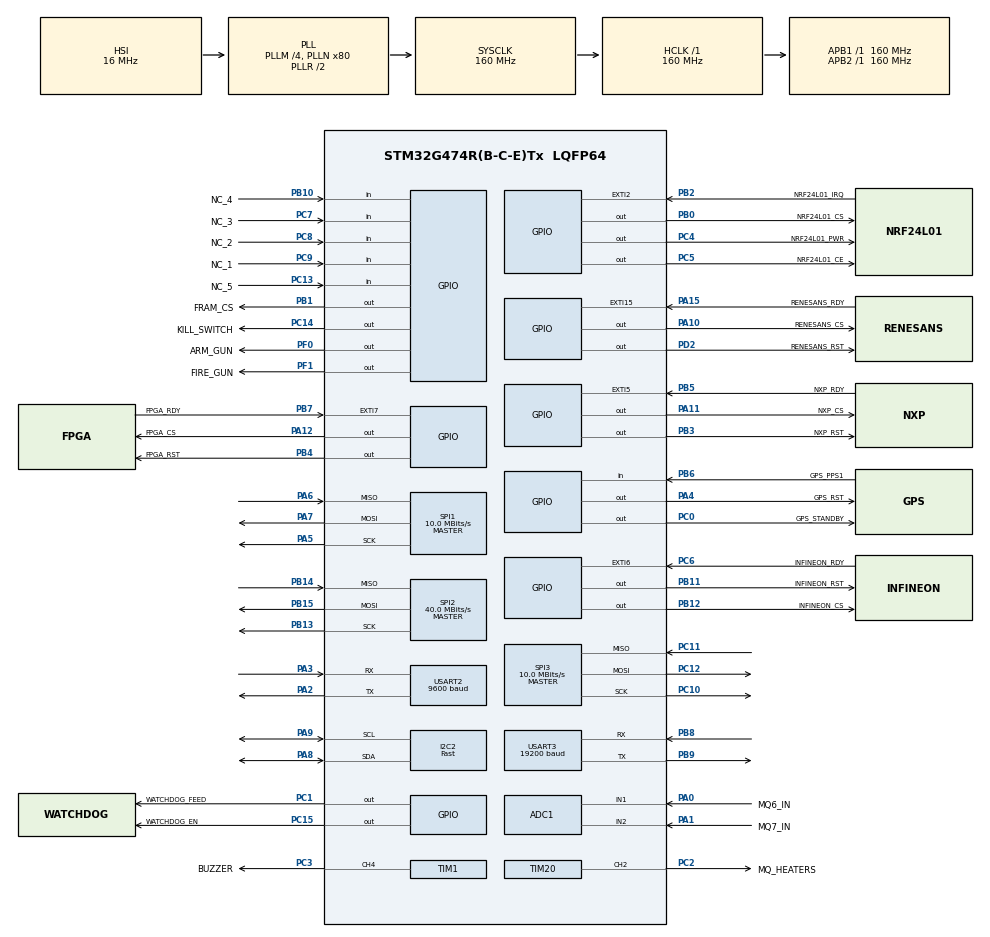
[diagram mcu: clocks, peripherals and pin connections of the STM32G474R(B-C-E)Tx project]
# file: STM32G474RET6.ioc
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ADC1.Channel-0\#ChannelRegularConversion=ADC_CHANNEL_VREFINT
ADC1.Channel-1\#ChannelRegularConversion=ADC_CHANNEL_TEMPSENSOR_ADC1
ADC1.Channel-2\#ChannelRegularConversion=ADC_CHANNEL_1
ADC1.Channel-3\#ChannelRegularConversion=ADC_CHANNEL_2
ADC1.ContinuousConvMode=DISABLE
ADC1.DMAContinuousRequests=ENABLE
ADC1.EOCSelection=ADC_EOC_SEQ_CONV
ADC1.ExternalTrigConv=ADC_EXTERNALTRIG_T7_TRGO
ADC1.NbrOfConversion=4
ADC1.NbrOfConversionFlag=1
ADC1.OffsetNumber-0\#ChannelRegularConversion=ADC_OFFSET_NONE
ADC1.OffsetNumber-1\#ChannelRegularConversion=ADC_OFFSET_NONE
ADC1.OffsetNumber-2\#ChannelRegularConversion=ADC_OFFSET_NONE
ADC1.OffsetNumber-3\#ChannelRegularConversion=ADC_OFFSET_NONE
ADC1.Rank-0\#ChannelRegularConversion=1
ADC1.Rank-1\#ChannelRegularConversion=2
ADC1.Rank-2\#ChannelRegularConversion=3
ADC1.Rank-3\#ChannelRegularConversion=4
ADC1.SamplingTime-0\#ChannelRegularConversion=ADC_SAMPLETIME_247CYCLES_5
ADC1.SamplingTime-1\#ChannelRegularConversion=ADC_SAMPLETIME_247CYCLES_5
ADC1.SamplingTime-2\#ChannelRegularConversion=ADC_SAMPLETIME_47CYCLES_5
ADC1.SamplingTime-3\#ChannelRegularConversion=ADC_SAMPLETIME_47CYCLES_5
ADC1.master=1
Dma.ADC1.6.Direction=DMA_PERIPH_TO_MEMORY
Dma.ADC1.6.EventEnable=DISABLE
Dma.ADC1.6.Instance=DMA2_Channel3
Dma.ADC1.6.MemDataAlignment=DMA_MDATAALIGN_WORD
Dma.ADC1.6.MemInc=DMA_MINC_ENABLE
Dma.ADC1.6.Mode=DMA_CIRCULAR
Dma.ADC1.6.PeriphDataAlignment=DMA_PDATAALIGN_WORD
Dma.ADC1.6.PeriphInc=DMA_PINC_DISABLE
Dma.ADC1.6.Polarity=HAL_DMAMUX_REQ_GEN_RISING
Dma.ADC1.6.Priority=DMA_PRIORITY_LOW
Dma.ADC1.6.RequestNumber=1
Dma.ADC1.6.SignalID=NONE
Dma.ADC1.6.SyncEnable=DISABLE
Dma.ADC1.6.SyncPolarity=HAL_DMAMUX_SYNC_NO_EVENT
Dma.ADC1.6.SyncRequestNumber=1
Dma.ADC1.6.SyncSignalID=NONE
Dma.I2C2_RX.5.Direction=DMA_PERIPH_TO_MEMORY
Dma.I2C2_RX.5.EventEnable=DISABLE
Dma.I2C2_RX.5.Instance=DMA1_Channel2
Dma.I2C2_RX.5.MemDataAlignment=DMA_MDATAALIGN_BYTE
Dma.I2C2_RX.5.MemInc=DMA_MINC_ENABLE
Dma.I2C2_RX.5.Mode=DMA_NORMAL
Dma.I2C2_RX.5.PeriphDataAlignment=DMA_PDATAALIGN_BYTE
Dma.I2C2_RX.5.PeriphInc=DMA_PINC_DISABLE
Dma.I2C2_RX.5.Polarity=HAL_DMAMUX_REQ_GEN_RISING
Dma.I2C2_RX.5.Priority=DMA_PRIORITY_LOW
Dma.I2C2_RX.5.RequestNumber=1
Dma.I2C2_RX.5.SignalID=NONE
Dma.I2C2_RX.5.SyncEnable=DISABLE
Dma.I2C2_RX.5.SyncPolarity=HAL_DMAMUX_SYNC_NO_EVENT
Dma.I2C2_RX.5.SyncRequestNumber=1
Dma.I2C2_RX.5.SyncSignalID=NONE
Dma.I2C2_TX.4.Direction=DMA_MEMORY_TO_PERIPH
Dma.I2C2_TX.4.EventEnable=DISABLE
Dma.I2C2_TX.4.Instance=DMA1_Channel1
Dma.I2C2_TX.4.MemDataAlignment=DMA_MDATAALIGN_BYTE
Dma.I2C2_TX.4.MemInc=DMA_MINC_ENABLE
Dma.I2C2_TX.4.Mode=DMA_NORMAL
Dma.I2C2_TX.4.PeriphDataAlignment=DMA_PDATAALIGN_BYTE
Dma.I2C2_TX.4.PeriphInc=DMA_PINC_DISABLE
Dma.I2C2_TX.4.Polarity=HAL_DMAMUX_REQ_GEN_RISING
Dma.I2C2_TX.4.Priority=DMA_PRIORITY_LOW
Dma.I2C2_TX.4.RequestNumber=1
Dma.I2C2_TX.4.SignalID=NONE
Dma.I2C2_TX.4.SyncEnable=DISABLE
Dma.I2C2_TX.4.SyncPolarity=HAL_DMAMUX_SYNC_NO_EVENT
Dma.I2C2_TX.4.SyncRequestNumber=1
Dma.I2C2_TX.4.SyncSignalID=NONE
Dma.Request0=SPI1_RX
Dma.Request1=SPI1_TX
Dma.Request10=USART2_RX
Dma.Request11=SPI3_TX
Dma.Request12=SPI3_RX
Dma.Request2=SPI2_RX
Dma.Request3=SPI2_TX
Dma.Request4=I2C2_TX
Dma.Request5=I2C2_RX
Dma.Request6=ADC1
Dma.Request7=USART3_RX
Dma.Request8=USART3_TX
Dma.Request9=USART2_TX
Dma.SPI1_RX.0.Direction=DMA_PERIPH_TO_MEMORY
Dma.SPI1_RX.0.EventEnable=DISABLE
Dma.SPI1_RX.0.Instance=DMA1_Channel4
Dma.SPI1_RX.0.MemDataAlignment=DMA_MDATAALIGN_BYTE
Dma.SPI1_RX.0.MemInc=DMA_MINC_ENABLE
Dma.SPI1_RX.0.Mode=DMA_NORMAL
Dma.SPI1_RX.0.PeriphDataAlignment=DMA_PDATAALIGN_BYTE
Dma.SPI1_RX.0.PeriphInc=DMA_PINC_DISABLE
Dma.SPI1_RX.0.Polarity=HAL_DMAMUX_REQ_GEN_RISING
Dma.SPI1_RX.0.Priority=DMA_PRIORITY_VERY_HIGH
Dma.SPI1_RX.0.RequestNumber=1
Dma.SPI1_RX.0.SignalID=NONE
Dma.SPI1_RX.0.SyncEnable=DISABLE
Dma.SPI1_RX.0.SyncPolarity=HAL_DMAMUX_SYNC_NO_EVENT
Dma.SPI1_RX.0.SyncRequestNumber=1
Dma.SPI1_RX.0.SyncSignalID=NONE
Dma.SPI1_TX.1.Direction=DMA_MEMORY_TO_PERIPH
Dma.SPI1_TX.1.EventEnable=DISABLE
Dma.SPI1_TX.1.Instance=DMA1_Channel3
Dma.SPI1_TX.1.MemDataAlignment=DMA_MDATAALIGN_BYTE
Dma.SPI1_TX.1.MemInc=DMA_MINC_ENABLE
Dma.SPI1_TX.1.Mode=DMA_NORMAL
Dma.SPI1_TX.1.PeriphDataAlignment=DMA_PDATAALIGN_BYTE
Dma.SPI1_TX.1.PeriphInc=DMA_PINC_DISABLE
Dma.SPI1_TX.1.Polarity=HAL_DMAMUX_REQ_GEN_RISING
Dma.SPI1_TX.1.Priority=DMA_PRIORITY_VERY_HIGH
Dma.SPI1_TX.1.RequestNumber=1
Dma.SPI1_TX.1.SignalID=NONE
Dma.SPI1_TX.1.SyncEnable=DISABLE
Dma.SPI1_TX.1.SyncPolarity=HAL_DMAMUX_SYNC_NO_EVENT
Dma.SPI1_TX.1.SyncRequestNumber=1
Dma.SPI1_TX.1.SyncSignalID=NONE
Dma.SPI2_RX.2.Direction=DMA_PERIPH_TO_MEMORY
Dma.SPI2_RX.2.EventEnable=DISABLE
Dma.SPI2_RX.2.Instance=DMA2_Channel2
Dma.SPI2_RX.2.MemDataAlignment=DMA_MDATAALIGN_BYTE
Dma.SPI2_RX.2.MemInc=DMA_MINC_ENABLE
Dma.SPI2_RX.2.Mode=DMA_NORMAL
Dma.SPI2_RX.2.PeriphDataAlignment=DMA_PDATAALIGN_BYTE
Dma.SPI2_RX.2.PeriphInc=DMA_PINC_DISABLE
Dma.SPI2_RX.2.Polarity=HAL_DMAMUX_REQ_GEN_RISING
Dma.SPI2_RX.2.Priority=DMA_PRIORITY_VERY_HIGH
Dma.SPI2_RX.2.RequestNumber=1
Dma.SPI2_RX.2.SignalID=NONE
Dma.SPI2_RX.2.SyncEnable=DISABLE
Dma.SPI2_RX.2.SyncPolarity=HAL_DMAMUX_SYNC_NO_EVENT
Dma.SPI2_RX.2.SyncRequestNumber=1
Dma.SPI2_RX.2.SyncSignalID=NONE
Dma.SPI2_TX.3.Direction=DMA_MEMORY_TO_PERIPH
Dma.SPI2_TX.3.EventEnable=DISABLE
Dma.SPI2_TX.3.Instance=DMA2_Channel1
Dma.SPI2_TX.3.MemDataAlignment=DMA_MDATAALIGN_BYTE
Dma.SPI2_TX.3.MemInc=DMA_MINC_ENABLE
Dma.SPI2_TX.3.Mode=DMA_NORMAL
Dma.SPI2_TX.3.PeriphDataAlignment=DMA_PDATAALIGN_BYTE
Dma.SPI2_TX.3.PeriphInc=DMA_PINC_DISABLE
Dma.SPI2_TX.3.Polarity=HAL_DMAMUX_REQ_GEN_RISING
Dma.SPI2_TX.3.Priority=DMA_PRIORITY_VERY_HIGH
Dma.SPI2_TX.3.RequestNumber=1
Dma.SPI2_TX.3.SignalID=NONE
Dma.SPI2_TX.3.SyncEnable=DISABLE
Dma.SPI2_TX.3.SyncPolarity=HAL_DMAMUX_SYNC_NO_EVENT
Dma.SPI2_TX.3.SyncRequestNumber=1
Dma.SPI2_TX.3.SyncSignalID=NONE
Dma.SPI3_RX.12.Direction=DMA_PERIPH_TO_MEMORY
Dma.SPI3_RX.12.EventEnable=DISABLE
Dma.SPI3_RX.12.Instance=DMA1_Channel8
Dma.SPI3_RX.12.MemDataAlignment=DMA_MDATAALIGN_BYTE
Dma.SPI3_RX.12.MemInc=DMA_MINC_ENABLE
Dma.SPI3_RX.12.Mode=DMA_NORMAL
Dma.SPI3_RX.12.PeriphDataAlignment=DMA_PDATAALIGN_BYTE
Dma.SPI3_RX.12.PeriphInc=DMA_PINC_DISABLE
Dma.SPI3_RX.12.Polarity=HAL_DMAMUX_REQ_GEN_RISING
Dma.SPI3_RX.12.Priority=DMA_PRIORITY_HIGH
Dma.SPI3_RX.12.RequestNumber=1
Dma.SPI3_RX.12.SignalID=NONE
Dma.SPI3_RX.12.SyncEnable=DISABLE
Dma.SPI3_RX.12.SyncPolarity=HAL_DMAMUX_SYNC_NO_EVENT
Dma.SPI3_RX.12.SyncRequestNumber=1
Dma.SPI3_RX.12.SyncSignalID=NONE
Dma.SPI3_TX.11.Direction=DMA_MEMORY_TO_PERIPH
Dma.SPI3_TX.11.EventEnable=DISABLE
Dma.SPI3_TX.11.Instance=DMA1_Channel7
Dma.SPI3_TX.11.MemDataAlignment=DMA_MDATAALIGN_BYTE
Dma.SPI3_TX.11.MemInc=DMA_MINC_ENABLE
Dma.SPI3_TX.11.Mode=DMA_NORMAL
Dma.SPI3_TX.11.PeriphDataAlignment=DMA_PDATAALIGN_BYTE
Dma.SPI3_TX.11.PeriphInc=DMA_PINC_DISABLE
Dma.SPI3_TX.11.Polarity=HAL_DMAMUX_REQ_GEN_RISING
Dma.SPI3_TX.11.Priority=DMA_PRIORITY_HIGH
Dma.SPI3_TX.11.RequestNumber=1
Dma.SPI3_TX.11.SignalID=NONE
Dma.SPI3_TX.11.SyncEnable=DISABLE
Dma.SPI3_TX.11.SyncPolarity=HAL_DMAMUX_SYNC_NO_EVENT
Dma.SPI3_TX.11.SyncRequestNumber=1
Dma.SPI3_TX.11.SyncSignalID=NONE
Dma.USART2_RX.10.Direction=DMA_PERIPH_TO_MEMORY
Dma.USART2_RX.10.EventEnable=DISABLE
Dma.USART2_RX.10.Instance=DMA1_Channel6
Dma.USART2_RX.10.MemDataAlignment=DMA_MDATAALIGN_BYTE
Dma.USART2_RX.10.MemInc=DMA_MINC_ENABLE
Dma.USART2_RX.10.Mode=DMA_NORMAL
Dma.USART2_RX.10.PeriphDataAlignment=DMA_PDATAALIGN_BYTE
Dma.USART2_RX.10.PeriphInc=DMA_PINC_DISABLE
Dma.USART2_RX.10.Polarity=HAL_DMAMUX_REQ_GEN_RISING
Dma.USART2_RX.10.Priority=DMA_PRIORITY_LOW
Dma.USART2_RX.10.RequestNumber=1
Dma.USART2_RX.10.SignalID=NONE
Dma.USART2_RX.10.SyncEnable=DISABLE
Dma.USART2_RX.10.SyncPolarity=HAL_DMAMUX_SYNC_NO_EVENT
Dma.USART2_RX.10.SyncRequestNumber=1
Dma.USART2_RX.10.SyncSignalID=NONE
Dma.USART2_TX.9.Direction=DMA_MEMORY_TO_PERIPH
Dma.USART2_TX.9.EventEnable=DISABLE
Dma.USART2_TX.9.Instance=DMA1_Channel5
Dma.USART2_TX.9.MemDataAlignment=DMA_MDATAALIGN_BYTE
Dma.USART2_TX.9.MemInc=DMA_MINC_ENABLE
Dma.USART2_TX.9.Mode=DMA_NORMAL
Dma.USART2_TX.9.PeriphDataAlignment=DMA_PDATAALIGN_BYTE
Dma.USART2_TX.9.PeriphInc=DMA_PINC_DISABLE
Dma.USART2_TX.9.Polarity=HAL_DMAMUX_REQ_GEN_RISING
Dma.USART2_TX.9.Priority=DMA_PRIORITY_LOW
Dma.USART2_TX.9.RequestNumber=1
Dma.USART2_TX.9.SignalID=NONE
Dma.USART2_TX.9.SyncEnable=DISABLE
Dma.USART2_TX.9.SyncPolarity=HAL_DMAMUX_SYNC_NO_EVENT
Dma.USART2_TX.9.SyncRequestNumber=1
Dma.USART2_TX.9.SyncSignalID=NONE
Dma.USART3_RX.7.Direction=DMA_PERIPH_TO_MEMORY
Dma.USART3_RX.7.EventEnable=DISABLE
Dma.USART3_RX.7.Instance=DMA2_Channel4
Dma.USART3_RX.7.MemDataAlignment=DMA_MDATAALIGN_BYTE
Dma.USART3_RX.7.MemInc=DMA_MINC_ENABLE
Dma.USART3_RX.7.Mode=DMA_CIRCULAR
Dma.USART3_RX.7.PeriphDataAlignment=DMA_PDATAALIGN_BYTE
Dma.USART3_RX.7.PeriphInc=DMA_PINC_DISABLE
Dma.USART3_RX.7.Polarity=HAL_DMAMUX_REQ_GEN_RISING
Dma.USART3_RX.7.Priority=DMA_PRIORITY_LOW
Dma.USART3_RX.7.RequestNumber=1
Dma.USART3_RX.7.SignalID=NONE
Dma.USART3_RX.7.SyncEnable=DISABLE
Dma.USART3_RX.7.SyncPolarity=HAL_DMAMUX_SYNC_NO_EVENT
Dma.USART3_RX.7.SyncRequestNumber=1
Dma.USART3_RX.7.SyncSignalID=NONE
Dma.USART3_TX.8.Direction=DMA_MEMORY_TO_PERIPH
Dma.USART3_TX.8.EventEnable=DISABLE
Dma.USART3_TX.8.Instance=DMA2_Channel5
Dma.USART3_TX.8.MemDataAlignment=DMA_MDATAALIGN_BYTE
Dma.USART3_TX.8.MemInc=DMA_MINC_ENABLE
Dma.USART3_TX.8.Mode=DMA_NORMAL
Dma.USART3_TX.8.PeriphDataAlignment=DMA_PDATAALIGN_BYTE
Dma.USART3_TX.8.PeriphInc=DMA_PINC_DISABLE
Dma.USART3_TX.8.Polarity=HAL_DMAMUX_REQ_GEN_RISING
Dma.USART3_TX.8.Priority=DMA_PRIORITY_LOW
Dma.USART3_TX.8.RequestNumber=1
Dma.USART3_TX.8.SignalID=NONE
Dma.USART3_TX.8.SyncEnable=DISABLE
Dma.USART3_TX.8.SyncPolarity=HAL_DMAMUX_SYNC_NO_EVENT
Dma.USART3_TX.8.SyncRequestNumber=1
Dma.USART3_TX.8.SyncSignalID=NONE
I2C2.I2C_Speed_Mode=I2C_Fast
I2C2.Timing=0x10F32A82
Mcu.Family=STM32G4
Mcu.Name=STM32G474R(B-C-E)Tx
Mcu.Package=LQFP64
NVIC.DMA1_Channel1_IRQn=true\:8\:0\:true\:false\:true\:true\:false\:true\:true
NVIC.DMA1_Channel2_IRQn=true\:0\:0\:false\:false\:true\:false\:false\:true\:true
NVIC.DMA1_Channel3_IRQn=true\:2\:0\:true\:false\:true\:false\:false\:true\:true
NVIC.DMA1_Channel4_IRQn=true\:2\:0\:true\:false\:true\:false\:false\:true\:true
NVIC.DMA1_Channel5_IRQn=true\:0\:0\:false\:false\:true\:true\:false\:true\:true
NVIC.DMA1_Channel6_IRQn=true\:0\:0\:false\:false\:true\:true\:false\:true\:true
NVIC.DMA1_Channel7_IRQn=true\:2\:0\:true\:false\:true\:true\:false\:true\:true
NVIC.DMA1_Channel8_IRQn=true\:5\:0\:true\:false\:true\:true\:false\:true\:true
NVIC.DMA2_Channel1_IRQn=true\:0\:0\:false\:false\:true\:false\:false\:true\:true
NVIC.DMA2_Channel2_IRQn=true\:0\:0\:false\:false\:true\:false\:false\:true\:true
NVIC.DMA2_Channel3_IRQn=true\:5\:0\:true\:false\:true\:false\:false\:true\:true
NVIC.DMA2_Channel4_IRQn=true\:0\:0\:false\:false\:true\:true\:false\:true\:true
NVIC.DMA2_Channel5_IRQn=true\:0\:0\:false\:false\:true\:true\:false\:true\:true
NVIC.EXTI15_10_IRQn=true\:5\:0\:true\:false\:true\:false\:true\:true\:true
NVIC.EXTI2_IRQn=true\:5\:0\:true\:false\:true\:false\:true\:true\:true
NVIC.EXTI9_5_IRQn=true\:5\:0\:true\:false\:true\:false\:true\:true\:true
NVIC.PriorityGroup=NVIC_PRIORITYGROUP_4
NVIC.TIM1_TRG_COM_TIM17_IRQn=true\:0\:0\:false\:false\:true\:false\:true\:true\:true
NVIC.TIM6_DAC_IRQn=true\:0\:0\:false\:false\:true\:false\:true\:true\:true
NVIC.TIM7_DAC_IRQn=true\:5\:0\:true\:false\:true\:false\:true\:true\:true
NVIC.USART2_IRQn=true\:15\:0\:true\:false\:true\:false\:true\:true\:true
NVIC.USART3_IRQn=true\:15\:0\:true\:false\:true\:false\:true\:true\:true
PA0.GPIO_Label=MQ6_IN
PA0.Mode=IN1-Single-Ended
PA0.Signal=ADC1_IN1
PA1.GPIO_Label=MQ7_IN
PA1.Mode=IN2-Single-Ended
PA1.Signal=ADC1_IN2
PA10.GPIO_Label=RENESANS_CS
PA10.PinState=GPIO_PIN_SET
PA10.Signal=GPIO_Output
PA11.GPIO_Label=NXP_CS
PA11.PinState=GPIO_PIN_SET
PA11.Signal=GPIO_Output
PA12.GPIO_Label=FPGA_CS
PA12.PinState=GPIO_PIN_SET
PA12.Signal=GPIO_Output
PA13.Mode=Serial_Wire
PA13.Signal=SYS_JTMS-SWDIO
PA14.Mode=Serial_Wire
PA14.Signal=SYS_JTCK-SWCLK
PA15.GPIO_Label=RENESANS_RDY
PA15.GPIO_ModeDefaultEXTI=GPIO_MODE_IT_FALLING
PA15.GPIO_PuPd=GPIO_PULLUP
PA15.Signal=GPXTI15
PA2.Mode=Asynchronous
PA2.Signal=USART2_TX
PA3.Mode=Asynchronous
PA3.Signal=USART2_RX
PA4.GPIO_Label=GPS_RST
PA4.GPIO_ModeDefaultOutputPP=GPIO_MODE_OUTPUT_PP
PA4.GPIO_PuPd=GPIO_NOPULL
PA4.PinState=GPIO_PIN_RESET
PA4.Signal=GPIO_Output
PA5.GPIO_Speed=GPIO_SPEED_FREQ_HIGH
PA5.Mode=Full_Duplex_Master
PA5.Signal=SPI1_SCK
PA6.GPIO_Speed=GPIO_SPEED_FREQ_HIGH
PA6.Mode=Full_Duplex_Master
PA6.Signal=SPI1_MISO
PA7.GPIO_Speed=GPIO_SPEED_FREQ_HIGH
PA7.Mode=Full_Duplex_Master
PA7.Signal=SPI1_MOSI
PA8.GPIO_Speed=GPIO_SPEED_FREQ_MEDIUM
PA8.Mode=I2C
PA8.Signal=I2C2_SDA
PA9.GPIO_Speed=GPIO_SPEED_FREQ_MEDIUM
PA9.Mode=I2C
PA9.Signal=I2C2_SCL
PB0.GPIO_Label=NRF24L01_CS
PB0.PinState=GPIO_PIN_SET
PB0.Signal=GPIO_Output
PB1.GPIO_Label=FRAM_CS
PB1.PinState=GPIO_PIN_SET
PB1.Signal=GPIO_Output
PB10.GPIO_Label=NC_4
PB10.GPIO_PuPd=GPIO_PULLUP
PB10.Signal=GPIO_Input
PB11.GPIO_Label=INFINEON_RST
PB11.GPIO_ModeDefaultOutputPP=GPIO_MODE_OUTPUT_OD
PB11.GPIO_PuPd=GPIO_NOPULL
PB11.PinState=GPIO_PIN_SET
PB11.Signal=GPIO_Output
PB12.GPIO_Label=INFINEON_CS
PB12.PinState=GPIO_PIN_SET
PB12.Signal=GPIO_Output
PB13.GPIO_Speed=GPIO_SPEED_FREQ_HIGH
PB13.Mode=Full_Duplex_Master
PB13.Signal=SPI2_SCK
PB14.GPIO_Speed=GPIO_SPEED_FREQ_HIGH
PB14.Mode=Full_Duplex_Master
PB14.Signal=SPI2_MISO
PB15.GPIO_Speed=GPIO_SPEED_FREQ_HIGH
PB15.Mode=Full_Duplex_Master
PB15.Signal=SPI2_MOSI
PB2.GPIO_Label=NRF24L01_IRQ
PB2.GPIO_ModeDefaultEXTI=GPIO_MODE_IT_FALLING
PB2.Signal=GPXTI2
PB3.GPIO_Label=NXP_RST
PB3.GPIO_ModeDefaultOutputPP=GPIO_MODE_OUTPUT_OD
PB3.GPIO_PuPd=GPIO_PULLUP
PB3.PinState=GPIO_PIN_SET
PB3.Signal=GPIO_Output
PB4.GPIO_Label=FPGA_RST
PB4.GPIO_ModeDefaultOutputPP=GPIO_MODE_OUTPUT_OD
PB4.GPIO_PuPd=GPIO_PULLUP
PB4.PinState=GPIO_PIN_SET
PB4.Signal=GPIO_Output
PB5.GPIO_Label=NXP_RDY
PB5.GPIO_ModeDefaultEXTI=GPIO_MODE_IT_FALLING
PB5.GPIO_PuPd=GPIO_PULLUP
PB5.Signal=GPXTI5
PB6.GPIO_Label=GPS_PPS1
PB6.GPIO_PuPd=GPIO_PULLUP
PB6.Signal=GPIO_Input
PB7.GPIO_Label=FPGA_RDY
PB7.GPIO_ModeDefaultEXTI=GPIO_MODE_IT_FALLING
PB7.GPIO_PuPd=GPIO_PULLUP
PB7.Signal=GPXTI7
PB8-BOOT0.Mode=Asynchronous
PB8-BOOT0.Signal=USART3_RX
PB9.Mode=Asynchronous
PB9.Signal=USART3_TX
PC0.GPIO_Label=GPS_STANDBY
PC0.Signal=GPIO_Output
PC1.GPIO_Label=WATCHDOG_FEED
PC1.PinState=GPIO_PIN_SET
PC1.Signal=GPIO_Output
PC10.GPIO_Speed=GPIO_SPEED_FREQ_HIGH
PC10.Mode=Full_Duplex_Master
PC10.Signal=SPI3_SCK
PC11.GPIO_Speed=GPIO_SPEED_FREQ_HIGH
PC11.Mode=Full_Duplex_Master
PC11.Signal=SPI3_MISO
PC12.GPIO_Speed=GPIO_SPEED_FREQ_HIGH
PC12.Mode=Full_Duplex_Master
PC12.Signal=SPI3_MOSI
PC13.GPIO_Label=NC_5
PC13.GPIO_PuPd=GPIO_PULLUP
PC13.Signal=GPIO_Input
PC14-OSC32_IN.GPIO_Label=KILL_SWITCH
PC14-OSC32_IN.Signal=GPIO_Output
PC15-OSC32_OUT.GPIO_Label=WATCHDOG_EN
PC15-OSC32_OUT.PinState=GPIO_PIN_SET
PC15-OSC32_OUT.Signal=GPIO_Output
PC2.GPIO_Label=MQ_HEATERS
PC2.Signal=S_TIM20_CH2
PC3.GPIO_Label=BUZZER
PC3.Signal=S_TIM1_CH4
PC4.GPIO_Label=NRF24L01_PWR
PC4.GPIO_ModeDefaultOutputPP=GPIO_MODE_OUTPUT_PP
PC4.GPIO_PuPd=GPIO_NOPULL
PC4.PinState=GPIO_PIN_SET
PC4.Signal=GPIO_Output
PC5.GPIO_Label=NRF24L01_CE
PC5.Signal=GPIO_Output
PC6.GPIO_Label=INFINEON_RDY
PC6.GPIO_ModeDefaultEXTI=GPIO_MODE_IT_FALLING
PC6.GPIO_PuPd=GPIO_NOPULL
PC6.Signal=GPXTI6
PC7.GPIO_Label=NC_3
PC7.GPIO_PuPd=GPIO_PULLUP
PC7.Signal=GPIO_Input
PC8.GPIO_Label=NC_2
PC8.GPIO_PuPd=GPIO_PULLUP
PC8.Signal=GPIO_Input
PC9.GPIO_Label=NC_1
PC9.GPIO_PuPd=GPIO_PULLUP
PC9.Signal=GPIO_Input
PD2.GPIO_Label=RENESANS_RST
PD2.GPIO_ModeDefaultOutputPP=GPIO_MODE_OUTPUT_OD
PD2.GPIO_PuPd=GPIO_PULLUP
PD2.PinState=GPIO_PIN_SET
PD2.Signal=GPIO_Output
PF0-OSC_IN.GPIO_Label=ARM_GUN
PF0-OSC_IN.Signal=GPIO_Output
PF1-OSC_OUT.GPIO_Label=FIRE_GUN
PF1-OSC_OUT.Signal=GPIO_Output
ProjectManager.HeapSize=0x200
ProjectManager.StackSize=0x400
ProjectManager.TargetToolchain=STM32CubeIDE
RCC.ADC12Freq_Value=160000000
RCC.ADC345Freq_Value=160000000
RCC.AHBFreq_Value=160000000
RCC.APB1Freq_Value=160000000
RCC.APB1TimFreq_Value=160000000
RCC.APB2Freq_Value=160000000
RCC.APB2TimFreq_Value=160000000
RCC.CortexFreq_Value=160000000
RCC.EXTERNAL_CLOCK_VALUE=12288000
RCC.HCLKFreq_Value=160000000
RCC.HSE_VALUE=8000000
RCC.HSI48_VALUE=48000000
RCC.HSI_VALUE=16000000
RCC.LSE_VALUE=32768
RCC.PLLM=RCC_PLLM_DIV4
RCC.PLLN=80
RCC.SYSCLKFreq_VALUE=160000000
RCC.SYSCLKSource=RCC_SYSCLKSOURCE_PLLCLK
RCC.USBFreq_Value=160000000
RCC.VCOOutputFreq_Value=320000000
SH.S_TIM1_CH4.0=TIM1_CH4,PWM Generation4 CH4
SH.S_TIM20_CH2.0=TIM20_CH2,PWM Generation2 CH2
SPI1.BaudRatePrescaler=SPI_BAUDRATEPRESCALER_16
SPI1.CalculateBaudRate=10.0 MBits/s
SPI1.DataSize=SPI_DATASIZE_8BIT
SPI1.Direction=SPI_DIRECTION_2LINES
SPI1.Mode=SPI_MODE_MASTER
SPI1.VirtualType=VM_MASTER
SPI2.BaudRatePrescaler=SPI_BAUDRATEPRESCALER_4
SPI2.CalculateBaudRate=40.0 MBits/s
SPI2.DataSize=SPI_DATASIZE_8BIT
SPI2.Direction=SPI_DIRECTION_2LINES
SPI2.Mode=SPI_MODE_MASTER
SPI2.VirtualType=VM_MASTER
SPI3.BaudRatePrescaler=SPI_BAUDRATEPRESCALER_16
SPI3.CalculateBaudRate=10.0 MBits/s
SPI3.DataSize=SPI_DATASIZE_8BIT
SPI3.Direction=SPI_DIRECTION_2LINES
SPI3.Mode=SPI_MODE_MASTER
SPI3.VirtualType=VM_MASTER
STMicroelectronics.X-CUBE-AZRTOS-G4.2.0.0.TX_APP_GENERATE_INIT_CODE=true
STMicroelectronics.X-CUBE-AZRTOS-G4.2.0.0.TX_TIMER_TICKS_PER_SECOND=2000
STMicroelectronics.X-CUBE-AZRTOS-G4.2.0.0.ThreadXCcRTOSJjThreadXJjCore=true
STMicroelectronics.X-CUBE-AZRTOS-G4.2.0.0_IsAnAzureRtosMw=true
TIM1.AutoReloadPreload=TIM_AUTORELOAD_PRELOAD_ENABLE
TIM1.Channel-PWM\ Generation4\ CH4=TIM_CHANNEL_4
TIM1.OC4Preload_PWM=ENABLE
TIM1.PeriodNoDither=999
TIM1.Prescaler=159
TIM1.PulseNoDither_4=0
TIM17.AutoReloadPreload=TIM_AUTORELOAD_PRELOAD_ENABLE
TIM17.PeriodNoDither=9
TIM17.Prescaler=15999
TIM20.AutoReloadPreload=TIM_AUTORELOAD_PRELOAD_ENABLE
TIM20.Channel-PWM\ Generation2\ CH2=TIM_CHANNEL_2
TIM20.PeriodNoDither=999
TIM20.Prescaler=159
TIM20.PulseNoDither_2=0
TIM6.AutoReloadPreload=TIM_AUTORELOAD_PRELOAD_ENABLE
TIM6.PeriodNoDither=49999
TIM6.Prescaler=15999
TIM6.TIM_MasterOutputTrigger=TIM_TRGO_RESET
TIM7.AutoReloadPreload=TIM_AUTORELOAD_PRELOAD_ENABLE
TIM7.PeriodNoDither=50000
TIM7.Prescaler=15999
TIM7.TIM_MasterOutputTrigger=TIM_TRGO_UPDATE
USART2.BaudRate=9600
USART2.VirtualMode-Asynchronous=VM_ASYNC
USART3.BaudRate=19200
USART3.VirtualMode-Asynchronous=VM_ASYNC
VP_ADC1_TempSens_Input.Mode=IN-TempSens
VP_ADC1_Vref_Input.Mode=IN-Vrefint
VP_CORDIC_VS_CORDIC.Mode=CORDIC_Activate
VP_STMicroelectronics.X-CUBE-AZRTOS-G4_VS_RTOSJjThreadX_6.2.0_2.0.0.Mode=RTOSJjThreadX
VP_SYS_VS_DBSignals.Mode=DisableDeadBatterySignals
VP_SYS_V_VREFBUF.Mode=ExternalMode
VP_TIM17_VS_ClockSourceINT.Mode=Enable_Timer
VP_TIM1_VS_ClockSourceINT.Mode=Internal
VP_TIM20_VS_ClockSourceINT.Mode=Internal
VP_TIM6_VS_ClockSourceINT.Mode=Enable_Timer
VP_TIM7_VS_ClockSourceINT.Mode=Enable_Timer
board=custom

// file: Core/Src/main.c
/* USER CODE BEGIN Header */
/**
  ******************************************************************************
  * @file           : main.c
  * @brief          : Main program body
  ******************************************************************************
  * @attention
  *
  * Copyright (c) 2025 STMicroelectronics.
  * All rights reserved.
  *
  * This software is licensed under terms that can be found in the LICENSE file
  * in the root directory of this software component.
  * If no LICENSE file comes with this software, it is provided AS-IS.
  *
  ******************************************************************************
  */
/* USER CODE END Header */
#include "app_threadx.h"
#include "main.h"

ADC_HandleTypeDef hadc1;
DMA_HandleTypeDef hdma_adc1;

CORDIC_HandleTypeDef hcordic;

I2C_HandleTypeDef hi2c2;
DMA_HandleTypeDef hdma_i2c2_tx;
DMA_HandleTypeDef hdma_i2c2_rx;

SPI_HandleTypeDef hspi1;
SPI_HandleTypeDef hspi2;
SPI_HandleTypeDef hspi3;
DMA_HandleTypeDef hdma_spi1_rx;
DMA_HandleTypeDef hdma_spi1_tx;
DMA_HandleTypeDef hdma_spi2_rx;
DMA_HandleTypeDef hdma_spi2_tx;
DMA_HandleTypeDef hdma_spi3_tx;
DMA_HandleTypeDef hdma_spi3_rx;

TIM_HandleTypeDef htim1;
TIM_HandleTypeDef htim6;
TIM_HandleTypeDef htim7;
TIM_HandleTypeDef htim17;
TIM_HandleTypeDef htim20;

UART_HandleTypeDef huart2;
UART_HandleTypeDef huart3;
DMA_HandleTypeDef hdma_usart2_tx;
DMA_HandleTypeDef hdma_usart2_rx;
DMA_HandleTypeDef hdma_usart3_rx;
DMA_HandleTypeDef hdma_usart3_tx;

/* USER CODE BEGIN PV */
extern void usart3_dma_init(void);
extern void spi1_dma_init(void);
extern void initializeMemory(void);

extern void task_CLI_create(void);
extern void task_SystemDispatcher_create(void);
extern void task_wireless_comm_create(void);
/* USER CODE END PV */

void SystemClock_Config(void);
static void MX_GPIO_Init(void);
static void MX_DMA_Init(void);
static void MX_CORDIC_Init(void);
static void MX_SPI1_Init(void);
static void MX_SPI2_Init(void);
static void MX_SPI3_Init(void);
static void MX_USART2_UART_Init(void);
static void MX_I2C2_Init(void);
static void MX_USART3_UART_Init(void);
static void MX_ADC1_Init(void);
static void MX_TIM1_Init(void);
static void MX_TIM20_Init(void);
static void MX_TIM7_Init(void);
static void MX_TIM6_Init(void);
static void MX_TIM17_Init(void);

/* USER CODE BEGIN 0 */
void xmc4200_spi_test(void){
    uint8_t tx_data[10];

    memset(tx_data,0xAA,10);

    uint8_t rx_data[10]={0};

    while(1){
        HAL_GPIO_WritePin(INFINEON_CS_GPIO_Port,INFINEON_CS_Pin,GPIO_PIN_RESET);

        HAL_SPI_TransmitReceive(&hspi2,tx_data,rx_data,10,1);
        HAL_GPIO_WritePin(INFINEON_CS_GPIO_Port,INFINEON_CS_Pin,GPIO_PIN_SET);
        //HAL_Delay(1000);
    }
}

void tx_application_define(void*first_unused_memory){
    (void)first_unused_memory;
    task_CLI_create();
    task_SystemDispatcher_create();
    task_wireless_comm_create();
}

extern void mcu_analog_init(void);
extern void mcu_analog_mq_init(void);
extern void buzzer_init(void);
extern void buzzer_play(uint32_t sound);
extern void buzzer_deinit(void);
/* USER CODE END 0 */

int main(void)
{

  /* MCU Configuration--------------------------------------------------------*/

  /* Reset of all peripherals, Initializes the Flash interface and the Systick. */
  HAL_Init();

  /* USER CODE BEGIN Init */
  // Disable global interrupts before all initialization is done
  __disable_irq();
  /* USER CODE END Init */

  /* Configure the system clock */
  SystemClock_Config();

  /* Initialize all configured peripherals */
  MX_GPIO_Init();
  MX_DMA_Init();
  MX_CORDIC_Init();
  MX_SPI1_Init();
  MX_SPI2_Init();
  MX_SPI3_Init();
  MX_USART2_UART_Init();
  MX_I2C2_Init();
  MX_USART3_UART_Init();
  MX_ADC1_Init();
  MX_TIM1_Init();
  MX_TIM20_Init();
  MX_TIM7_Init();
  MX_TIM6_Init();
  MX_TIM17_Init();
  /* USER CODE BEGIN 2 */
  // Clear all pending interrupts before enabling them to avoid unintended behavior
  USART2->ICR=0xFFFFFFFF;
  USART3->ICR=0xFFFFFFFF;
  // ADC interrupts
  ADC1->ISR=0xFFFFFFFF;
  ADC2->ISR=0xFFFFFFFF;
  // DMA interrupts
  DMA1->IFCR=0xFFFFFFFF;
  DMA2->IFCR=0xFFFFFFFF;

  // EXTI pending
  EXTI->PR1=0xFFFFFFFF;
  EXTI->PR2=0xFFFFFFFF;

  // NVIC pending
  for(uint8_t i=0;i<8;i++) {
      NVIC->ICPR[i]=0xFFFFFFFF;
  }

  HAL_GPIO_WritePin(NRF24L01_PWR_GPIO_Port,NRF24L01_PWR_Pin,GPIO_PIN_RESET);

  usart3_dma_init();
  spi1_dma_init();
  mcu_analog_init();
  initializeMemory();
  mcu_analog_mq_init(); // Initialize MQ-6 and MQ-7 sensors
  buzzer_init();
    __enable_irq();
  buzzer_play(2);
  uint32_t i=0;
  for(i=0;i<1000000;i++){
    asm("nop");
  }
  //xmc4200_spi_test();
  /* USER CODE END 2 */

  MX_ThreadX_Init();

  /* We should never get here as control is now taken by the scheduler */

  /* Infinite loop */
  while (1)
  {

  }
}

void SystemClock_Config(void)
{
  RCC_OscInitTypeDef RCC_OscInitStruct = {0};
  RCC_ClkInitTypeDef RCC_ClkInitStruct = {0};

  /** Configure the main internal regulator output voltage
  */
  HAL_PWREx_ControlVoltageScaling(PWR_REGULATOR_VOLTAGE_SCALE1_BOOST);

  /** Initializes the RCC Oscillators according to the specified parameters
  * in the RCC_OscInitTypeDef structure.
  */
  RCC_OscInitStruct.OscillatorType = RCC_OSCILLATORTYPE_HSI;
  RCC_OscInitStruct.HSIState = RCC_HSI_ON;
  RCC_OscInitStruct.HSICalibrationValue = RCC_HSICALIBRATION_DEFAULT;
  RCC_OscInitStruct.PLL.PLLState = RCC_PLL_ON;
  RCC_OscInitStruct.PLL.PLLSource = RCC_PLLSOURCE_HSI;
  RCC_OscInitStruct.PLL.PLLM = RCC_PLLM_DIV4;
  RCC_OscInitStruct.PLL.PLLN = 80;
  RCC_OscInitStruct.PLL.PLLP = RCC_PLLP_DIV2;
  RCC_OscInitStruct.PLL.PLLQ = RCC_PLLQ_DIV2;
  RCC_OscInitStruct.PLL.PLLR = RCC_PLLR_DIV2;
  if (HAL_RCC_OscConfig(&RCC_OscInitStruct) != HAL_OK)
  {
    Error_Handler();
  }

  /** Initializes the CPU, AHB and APB buses clocks
  */
  RCC_ClkInitStruct.ClockType = RCC_CLOCKTYPE_HCLK|RCC_CLOCKTYPE_SYSCLK
                              |RCC_CLOCKTYPE_PCLK1|RCC_CLOCKTYPE_PCLK2;
  RCC_ClkInitStruct.SYSCLKSource = RCC_SYSCLKSOURCE_PLLCLK;
  RCC_ClkInitStruct.AHBCLKDivider = RCC_SYSCLK_DIV1;
  RCC_ClkInitStruct.APB1CLKDivider = RCC_HCLK_DIV1;
  RCC_ClkInitStruct.APB2CLKDivider = RCC_HCLK_DIV1;

  if (HAL_RCC_ClockConfig(&RCC_ClkInitStruct, FLASH_LATENCY_4) != HAL_OK)
  {
    Error_Handler();
  }
}

static void MX_ADC1_Init(void)
{

  ADC_MultiModeTypeDef multimode = {0};
  ADC_ChannelConfTypeDef sConfig = {0};

  /** Common config
  */
  hadc1.Instance = ADC1;
  hadc1.Init.ClockPrescaler = ADC_CLOCK_SYNC_PCLK_DIV4;
  hadc1.Init.Resolution = ADC_RESOLUTION_12B;
  hadc1.Init.DataAlign = ADC_DATAALIGN_RIGHT;
  hadc1.Init.GainCompensation = 0;
  hadc1.Init.ScanConvMode = ADC_SCAN_ENABLE;
  hadc1.Init.EOCSelection = ADC_EOC_SEQ_CONV;
  hadc1.Init.LowPowerAutoWait = DISABLE;
  hadc1.Init.ContinuousConvMode = DISABLE;
  hadc1.Init.NbrOfConversion = 4;
  hadc1.Init.DiscontinuousConvMode = DISABLE;
  hadc1.Init.ExternalTrigConv = ADC_EXTERNALTRIG_T7_TRGO;
  hadc1.Init.ExternalTrigConvEdge = ADC_EXTERNALTRIGCONVEDGE_RISING;
  hadc1.Init.DMAContinuousRequests = ENABLE;
  hadc1.Init.Overrun = ADC_OVR_DATA_PRESERVED;
  hadc1.Init.OversamplingMode = DISABLE;
  if (HAL_ADC_Init(&hadc1) != HAL_OK)
  {
    Error_Handler();
  }

  /** Configure the ADC multi-mode
  */
  multimode.Mode = ADC_MODE_INDEPENDENT;
  if (HAL_ADCEx_MultiModeConfigChannel(&hadc1, &multimode) != HAL_OK)
  {
    Error_Handler();
  }

  /** Configure Regular Channel
  */
  sConfig.Channel = ADC_CHANNEL_VREFINT;
  sConfig.Rank = ADC_REGULAR_RANK_1;
  sConfig.SamplingTime = ADC_SAMPLETIME_247CYCLES_5;
  sConfig.SingleDiff = ADC_SINGLE_ENDED;
  sConfig.OffsetNumber = ADC_OFFSET_NONE;
  sConfig.Offset = 0;
  if (HAL_ADC_ConfigChannel(&hadc1, &sConfig) != HAL_OK)
  {
    Error_Handler();
  }

  /** Configure Regular Channel
  */
  sConfig.Channel = ADC_CHANNEL_TEMPSENSOR_ADC1;
  sConfig.Rank = ADC_REGULAR_RANK_2;
  if (HAL_ADC_ConfigChannel(&hadc1, &sConfig) != HAL_OK)
  {
    Error_Handler();
  }

  /** Configure Regular Channel
  */
  sConfig.Channel = ADC_CHANNEL_1;
  sConfig.Rank = ADC_REGULAR_RANK_3;
  sConfig.SamplingTime = ADC_SAMPLETIME_47CYCLES_5;
  if (HAL_ADC_ConfigChannel(&hadc1, &sConfig) != HAL_OK)
  {
    Error_Handler();
  }

  /** Configure Regular Channel
  */
  sConfig.Channel = ADC_CHANNEL_2;
  sConfig.Rank = ADC_REGULAR_RANK_4;
  if (HAL_ADC_ConfigChannel(&hadc1, &sConfig) != HAL_OK)
  {
    Error_Handler();
  }

}

static void MX_CORDIC_Init(void)
{

  hcordic.Instance = CORDIC;
  if (HAL_CORDIC_Init(&hcordic) != HAL_OK)
  {
    Error_Handler();
  }

}

static void MX_I2C2_Init(void)
{

  hi2c2.Instance = I2C2;
  hi2c2.Init.Timing = 0x10F32A82;
  hi2c2.Init.OwnAddress1 = 0;
  hi2c2.Init.AddressingMode = I2C_ADDRESSINGMODE_7BIT;
  hi2c2.Init.DualAddressMode = I2C_DUALADDRESS_DISABLE;
  hi2c2.Init.OwnAddress2 = 0;
  hi2c2.Init.OwnAddress2Masks = I2C_OA2_NOMASK;
  hi2c2.Init.GeneralCallMode = I2C_GENERALCALL_DISABLE;
  hi2c2.Init.NoStretchMode = I2C_NOSTRETCH_DISABLE;
  if (HAL_I2C_Init(&hi2c2) != HAL_OK)
  {
    Error_Handler();
  }

  /** Configure Analogue filter
  */
  if (HAL_I2CEx_ConfigAnalogFilter(&hi2c2, I2C_ANALOGFILTER_ENABLE) != HAL_OK)
  {
    Error_Handler();
  }

  /** Configure Digital filter
  */
  if (HAL_I2CEx_ConfigDigitalFilter(&hi2c2, 0) != HAL_OK)
  {
    Error_Handler();
  }

}

static void MX_SPI1_Init(void)
{

  /* SPI1 parameter configuration*/
  hspi1.Instance = SPI1;
  hspi1.Init.Mode = SPI_MODE_MASTER;
  hspi1.Init.Direction = SPI_DIRECTION_2LINES;
  hspi1.Init.DataSize = SPI_DATASIZE_8BIT;
  hspi1.Init.CLKPolarity = SPI_POLARITY_LOW;
  hspi1.Init.CLKPhase = SPI_PHASE_1EDGE;
  hspi1.Init.NSS = SPI_NSS_SOFT;
  hspi1.Init.BaudRatePrescaler = SPI_BAUDRATEPRESCALER_16;
  hspi1.Init.FirstBit = SPI_FIRSTBIT_MSB;
  hspi1.Init.TIMode = SPI_TIMODE_DISABLE;
  hspi1.Init.CRCCalculation = SPI_CRCCALCULATION_DISABLE;
  hspi1.Init.CRCPolynomial = 7;
  hspi1.Init.CRCLength = SPI_CRC_LENGTH_DATASIZE;
  hspi1.Init.NSSPMode = SPI_NSS_PULSE_ENABLE;
  if (HAL_SPI_Init(&hspi1) != HAL_OK)
  {
    Error_Handler();
  }

}

static void MX_SPI2_Init(void)
{

  /* SPI2 parameter configuration*/
  hspi2.Instance = SPI2;
  hspi2.Init.Mode = SPI_MODE_MASTER;
  hspi2.Init.Direction = SPI_DIRECTION_2LINES;
  hspi2.Init.DataSize = SPI_DATASIZE_8BIT;
  hspi2.Init.CLKPolarity = SPI_POLARITY_LOW;
  hspi2.Init.CLKPhase = SPI_PHASE_1EDGE;
  hspi2.Init.NSS = SPI_NSS_SOFT;
  hspi2.Init.BaudRatePrescaler = SPI_BAUDRATEPRESCALER_4;
  hspi2.Init.FirstBit = SPI_FIRSTBIT_MSB;
  hspi2.Init.TIMode = SPI_TIMODE_DISABLE;
  hspi2.Init.CRCCalculation = SPI_CRCCALCULATION_DISABLE;
  hspi2.Init.CRCPolynomial = 7;
  hspi2.Init.CRCLength = SPI_CRC_LENGTH_DATASIZE;
  hspi2.Init.NSSPMode = SPI_NSS_PULSE_ENABLE;
  if (HAL_SPI_Init(&hspi2) != HAL_OK)
  {
    Error_Handler();
  }

}

static void MX_SPI3_Init(void)
{

  /* SPI3 parameter configuration*/
  hspi3.Instance = SPI3;
  hspi3.Init.Mode = SPI_MODE_MASTER;
  hspi3.Init.Direction = SPI_DIRECTION_2LINES;
  hspi3.Init.DataSize = SPI_DATASIZE_8BIT;
  hspi3.Init.CLKPolarity = SPI_POLARITY_LOW;
  hspi3.Init.CLKPhase = SPI_PHASE_1EDGE;
  hspi3.Init.NSS = SPI_NSS_SOFT;
  hspi3.Init.BaudRatePrescaler = SPI_BAUDRATEPRESCALER_16;
  hspi3.Init.FirstBit = SPI_FIRSTBIT_MSB;
  hspi3.Init.TIMode = SPI_TIMODE_DISABLE;
  hspi3.Init.CRCCalculation = SPI_CRCCALCULATION_DISABLE;
  hspi3.Init.CRCPolynomial = 7;
  hspi3.Init.CRCLength = SPI_CRC_LENGTH_DATASIZE;
  hspi3.Init.NSSPMode = SPI_NSS_PULSE_ENABLE;
  if (HAL_SPI_Init(&hspi3) != HAL_OK)
  {
    Error_Handler();
  }

}

static void MX_TIM1_Init(void)
{

  TIM_ClockConfigTypeDef sClockSourceConfig = {0};
  TIM_MasterConfigTypeDef sMasterConfig = {0};
  TIM_OC_InitTypeDef sConfigOC = {0};
  TIM_BreakDeadTimeConfigTypeDef sBreakDeadTimeConfig = {0};

  htim1.Instance = TIM1;
  htim1.Init.Prescaler = 159;
  htim1.Init.CounterMode = TIM_COUNTERMODE_UP;
  htim1.Init.Period = 999;
  htim1.Init.ClockDivision = TIM_CLOCKDIVISION_DIV1;
  htim1.Init.RepetitionCounter = 0;
  htim1.Init.AutoReloadPreload = TIM_AUTORELOAD_PRELOAD_ENABLE;
  if (HAL_TIM_Base_Init(&htim1) != HAL_OK)
  {
    Error_Handler();
  }
  sClockSourceConfig.ClockSource = TIM_CLOCKSOURCE_INTERNAL;
  if (HAL_TIM_ConfigClockSource(&htim1, &sClockSourceConfig) != HAL_OK)
  {
    Error_Handler();
  }
  if (HAL_TIM_PWM_Init(&htim1) != HAL_OK)
  {
    Error_Handler();
  }
  sMasterConfig.MasterOutputTrigger = TIM_TRGO_RESET;
  sMasterConfig.MasterOutputTrigger2 = TIM_TRGO2_RESET;
  sMasterConfig.MasterSlaveMode = TIM_MASTERSLAVEMODE_DISABLE;
  if (HAL_TIMEx_MasterConfigSynchronization(&htim1, &sMasterConfig) != HAL_OK)
  {
    Error_Handler();
  }
  sConfigOC.OCMode = TIM_OCMODE_PWM1;
  sConfigOC.Pulse = 0;
  sConfigOC.OCPolarity = TIM_OCPOLARITY_HIGH;
  sConfigOC.OCNPolarity = TIM_OCNPOLARITY_HIGH;
  sConfigOC.OCFastMode = TIM_OCFAST_DISABLE;
  sConfigOC.OCIdleState = TIM_OCIDLESTATE_RESET;
  sConfigOC.OCNIdleState = TIM_OCNIDLESTATE_RESET;
  if (HAL_TIM_PWM_ConfigChannel(&htim1, &sConfigOC, TIM_CHANNEL_4) != HAL_OK)
  {
    Error_Handler();
  }
  sBreakDeadTimeConfig.OffStateRunMode = TIM_OSSR_DISABLE;
  sBreakDeadTimeConfig.OffStateIDLEMode = TIM_OSSI_DISABLE;
  sBreakDeadTimeConfig.LockLevel = TIM_LOCKLEVEL_OFF;
  sBreakDeadTimeConfig.DeadTime = 0;
  sBreakDeadTimeConfig.BreakState = TIM_BREAK_DISABLE;
  sBreakDeadTimeConfig.BreakPolarity = TIM_BREAKPOLARITY_HIGH;
  sBreakDeadTimeConfig.BreakFilter = 0;
  sBreakDeadTimeConfig.BreakAFMode = TIM_BREAK_AFMODE_INPUT;
  sBreakDeadTimeConfig.Break2State = TIM_BREAK2_DISABLE;
  sBreakDeadTimeConfig.Break2Polarity = TIM_BREAK2POLARITY_HIGH;
  sBreakDeadTimeConfig.Break2Filter = 0;
  sBreakDeadTimeConfig.Break2AFMode = TIM_BREAK_AFMODE_INPUT;
  sBreakDeadTimeConfig.AutomaticOutput = TIM_AUTOMATICOUTPUT_DISABLE;
  if (HAL_TIMEx_ConfigBreakDeadTime(&htim1, &sBreakDeadTimeConfig) != HAL_OK)
  {
    Error_Handler();
  }
  HAL_TIM_MspPostInit(&htim1);

}

static void MX_TIM6_Init(void)
{

  TIM_MasterConfigTypeDef sMasterConfig = {0};

  htim6.Instance = TIM6;
  htim6.Init.Prescaler = 15999;
  htim6.Init.CounterMode = TIM_COUNTERMODE_UP;
  htim6.Init.Period = 49999;
  htim6.Init.AutoReloadPreload = TIM_AUTORELOAD_PRELOAD_ENABLE;
  if (HAL_TIM_Base_Init(&htim6) != HAL_OK)
  {
    Error_Handler();
  }
  sMasterConfig.MasterOutputTrigger = TIM_TRGO_RESET;
  sMasterConfig.MasterSlaveMode = TIM_MASTERSLAVEMODE_DISABLE;
  if (HAL_TIMEx_MasterConfigSynchronization(&htim6, &sMasterConfig) != HAL_OK)
  {
    Error_Handler();
  }

}

static void MX_TIM7_Init(void)
{

  TIM_MasterConfigTypeDef sMasterConfig = {0};

  htim7.Instance = TIM7;
  htim7.Init.Prescaler = 15999;
  htim7.Init.CounterMode = TIM_COUNTERMODE_UP;
  htim7.Init.Period = 50000;
  htim7.Init.AutoReloadPreload = TIM_AUTORELOAD_PRELOAD_ENABLE;
  if (HAL_TIM_Base_Init(&htim7) != HAL_OK)
  {
    Error_Handler();
  }
  sMasterConfig.MasterOutputTrigger = TIM_TRGO_UPDATE;
  sMasterConfig.MasterSlaveMode = TIM_MASTERSLAVEMODE_DISABLE;
  if (HAL_TIMEx_MasterConfigSynchronization(&htim7, &sMasterConfig) != HAL_OK)
  {
    Error_Handler();
  }

}

static void MX_TIM17_Init(void)
{

  htim17.Instance = TIM17;
  htim17.Init.Prescaler = 15999;
  htim17.Init.CounterMode = TIM_COUNTERMODE_UP;
  htim17.Init.Period = 9;
  htim17.Init.ClockDivision = TIM_CLOCKDIVISION_DIV1;
  htim17.Init.RepetitionCounter = 0;
  htim17.Init.AutoReloadPreload = TIM_AUTORELOAD_PRELOAD_ENABLE;
  if (HAL_TIM_Base_Init(&htim17) != HAL_OK)
  {
    Error_Handler();
  }

}

static void MX_TIM20_Init(void)
{

  TIM_ClockConfigTypeDef sClockSourceConfig = {0};
  TIM_MasterConfigTypeDef sMasterConfig = {0};
  TIM_OC_InitTypeDef sConfigOC = {0};
  TIM_BreakDeadTimeConfigTypeDef sBreakDeadTimeConfig = {0};

  htim20.Instance = TIM20;
  htim20.Init.Prescaler = 159;
  htim20.Init.CounterMode = TIM_COUNTERMODE_UP;
  htim20.Init.Period = 1000;
  htim20.Init.ClockDivision = TIM_CLOCKDIVISION_DIV1;
  htim20.Init.RepetitionCounter = 0;
  htim20.Init.AutoReloadPreload = TIM_AUTORELOAD_PRELOAD_ENABLE;
  if (HAL_TIM_Base_Init(&htim20) != HAL_OK)
  {
    Error_Handler();
  }
  sClockSourceConfig.ClockSource = TIM_CLOCKSOURCE_INTERNAL;
  if (HAL_TIM_ConfigClockSource(&htim20, &sClockSourceConfig) != HAL_OK)
  {
    Error_Handler();
  }
  if (HAL_TIM_PWM_Init(&htim20) != HAL_OK)
  {
    Error_Handler();
  }
  sMasterConfig.MasterOutputTrigger = TIM_TRGO_RESET;
  sMasterConfig.MasterOutputTrigger2 = TIM_TRGO2_RESET;
  sMasterConfig.MasterSlaveMode = TIM_MASTERSLAVEMODE_DISABLE;
  if (HAL_TIMEx_MasterConfigSynchronization(&htim20, &sMasterConfig) != HAL_OK)
  {
    Error_Handler();
  }
  sConfigOC.OCMode = TIM_OCMODE_PWM1;
  sConfigOC.Pulse = 0;
  sConfigOC.OCPolarity = TIM_OCPOLARITY_HIGH;
  sConfigOC.OCNPolarity = TIM_OCNPOLARITY_HIGH;
  sConfigOC.OCFastMode = TIM_OCFAST_DISABLE;
  sConfigOC.OCIdleState = TIM_OCIDLESTATE_RESET;
  sConfigOC.OCNIdleState = TIM_OCNIDLESTATE_RESET;
  if (HAL_TIM_PWM_ConfigChannel(&htim20, &sConfigOC, TIM_CHANNEL_2) != HAL_OK)
  {
    Error_Handler();
  }
  sBreakDeadTimeConfig.OffStateRunMode = TIM_OSSR_DISABLE;
  sBreakDeadTimeConfig.OffStateIDLEMode = TIM_OSSI_DISABLE;
  sBreakDeadTimeConfig.LockLevel = TIM_LOCKLEVEL_OFF;
  sBreakDeadTimeConfig.DeadTime = 0;
  sBreakDeadTimeConfig.BreakState = TIM_BREAK_DISABLE;
  sBreakDeadTimeConfig.BreakPolarity = TIM_BREAKPOLARITY_HIGH;
  sBreakDeadTimeConfig.BreakFilter = 0;
  sBreakDeadTimeConfig.BreakAFMode = TIM_BREAK_AFMODE_INPUT;
  sBreakDeadTimeConfig.Break2State = TIM_BREAK2_DISABLE;
  sBreakDeadTimeConfig.Break2Polarity = TIM_BREAK2POLARITY_HIGH;
  sBreakDeadTimeConfig.Break2Filter = 0;
  sBreakDeadTimeConfig.Break2AFMode = TIM_BREAK_AFMODE_INPUT;
  sBreakDeadTimeConfig.AutomaticOutput = TIM_AUTOMATICOUTPUT_DISABLE;
  if (HAL_TIMEx_ConfigBreakDeadTime(&htim20, &sBreakDeadTimeConfig) != HAL_OK)
  {
    Error_Handler();
  }
  HAL_TIM_MspPostInit(&htim20);

}

static void MX_USART2_UART_Init(void)
{

  huart2.Instance = USART2;
  huart2.Init.BaudRate = 9600;
  huart2.Init.WordLength = UART_WORDLENGTH_8B;
  huart2.Init.StopBits = UART_STOPBITS_1;
  huart2.Init.Parity = UART_PARITY_NONE;
  huart2.Init.Mode = UART_MODE_TX_RX;
  huart2.Init.HwFlowCtl = UART_HWCONTROL_NONE;
  huart2.Init.OverSampling = UART_OVERSAMPLING_16;
  huart2.Init.OneBitSampling = UART_ONE_BIT_SAMPLE_DISABLE;
  huart2.Init.ClockPrescaler = UART_PRESCALER_DIV1;
  huart2.AdvancedInit.AdvFeatureInit = UART_ADVFEATURE_NO_INIT;
  if (HAL_UART_Init(&huart2) != HAL_OK)
  {
    Error_Handler();
  }
  if (HAL_UARTEx_SetTxFifoThreshold(&huart2, UART_TXFIFO_THRESHOLD_1_8) != HAL_OK)
  {
    Error_Handler();
  }
  if (HAL_UARTEx_SetRxFifoThreshold(&huart2, UART_RXFIFO_THRESHOLD_1_8) != HAL_OK)
  {
    Error_Handler();
  }
  if (HAL_UARTEx_DisableFifoMode(&huart2) != HAL_OK)
  {
    Error_Handler();
  }

}

static void MX_USART3_UART_Init(void)
{

  huart3.Instance = USART3;
  huart3.Init.BaudRate = 19200;
  huart3.Init.WordLength = UART_WORDLENGTH_8B;
  huart3.Init.StopBits = UART_STOPBITS_1;
  huart3.Init.Parity = UART_PARITY_NONE;
  huart3.Init.Mode = UART_MODE_TX_RX;
  huart3.Init.HwFlowCtl = UART_HWCONTROL_NONE;
  huart3.Init.OverSampling = UART_OVERSAMPLING_16;
  huart3.Init.OneBitSampling = UART_ONE_BIT_SAMPLE_DISABLE;
  huart3.Init.ClockPrescaler = UART_PRESCALER_DIV1;
  huart3.AdvancedInit.AdvFeatureInit = UART_ADVFEATURE_NO_INIT;
  if (HAL_UART_Init(&huart3) != HAL_OK)
  {
    Error_Handler();
  }
  if (HAL_UARTEx_SetTxFifoThreshold(&huart3, UART_TXFIFO_THRESHOLD_1_8) != HAL_OK)
  {
    Error_Handler();
  }
  if (HAL_UARTEx_SetRxFifoThreshold(&huart3, UART_RXFIFO_THRESHOLD_1_8) != HAL_OK)
  {
    Error_Handler();
  }
  if (HAL_UARTEx_DisableFifoMode(&huart3) != HAL_OK)
  {
    Error_Handler();
  }

}

static void MX_DMA_Init(void)
{

  /* DMA controller clock enable */
  __HAL_RCC_DMAMUX1_CLK_ENABLE();
  __HAL_RCC_DMA1_CLK_ENABLE();
  __HAL_RCC_DMA2_CLK_ENABLE();

  /* DMA interrupt init */
  /* DMA1_Channel1_IRQn interrupt configuration */
  HAL_NVIC_SetPriority(DMA1_Channel1_IRQn, 8, 0);
  HAL_NVIC_EnableIRQ(DMA1_Channel1_IRQn);
  /* DMA1_Channel2_IRQn interrupt configuration */
  HAL_NVIC_SetPriority(DMA1_Channel2_IRQn, 0, 0);
  HAL_NVIC_EnableIRQ(DMA1_Channel2_IRQn);
  /* DMA1_Channel3_IRQn interrupt configuration */
  HAL_NVIC_SetPriority(DMA1_Channel3_IRQn, 2, 0);
  HAL_NVIC_EnableIRQ(DMA1_Channel3_IRQn);
  /* DMA1_Channel4_IRQn interrupt configuration */
  HAL_NVIC_SetPriority(DMA1_Channel4_IRQn, 2, 0);
  HAL_NVIC_EnableIRQ(DMA1_Channel4_IRQn);
  /* DMA1_Channel5_IRQn interrupt configuration */
  HAL_NVIC_SetPriority(DMA1_Channel5_IRQn, 0, 0);
  HAL_NVIC_EnableIRQ(DMA1_Channel5_IRQn);
  /* DMA1_Channel6_IRQn interrupt configuration */
  HAL_NVIC_SetPriority(DMA1_Channel6_IRQn, 0, 0);
  HAL_NVIC_EnableIRQ(DMA1_Channel6_IRQn);
  /* DMA1_Channel7_IRQn interrupt configuration */
  HAL_NVIC_SetPriority(DMA1_Channel7_IRQn, 2, 0);
  HAL_NVIC_EnableIRQ(DMA1_Channel7_IRQn);
  /* DMA2_Channel1_IRQn interrupt configuration */
  HAL_NVIC_SetPriority(DMA2_Channel1_IRQn, 0, 0);
  HAL_NVIC_EnableIRQ(DMA2_Channel1_IRQn);
  /* DMA2_Channel2_IRQn interrupt configuration */
  HAL_NVIC_SetPriority(DMA2_Channel2_IRQn, 0, 0);
  HAL_NVIC_EnableIRQ(DMA2_Channel2_IRQn);
  /* DMA2_Channel3_IRQn interrupt configuration */
  HAL_NVIC_SetPriority(DMA2_Channel3_IRQn, 5, 0);
  HAL_NVIC_EnableIRQ(DMA2_Channel3_IRQn);
  /* DMA2_Channel4_IRQn interrupt configuration */
  HAL_NVIC_SetPriority(DMA2_Channel4_IRQn, 0, 0);
  HAL_NVIC_EnableIRQ(DMA2_Channel4_IRQn);
  /* DMA2_Channel5_IRQn interrupt configuration */
  HAL_NVIC_SetPriority(DMA2_Channel5_IRQn, 0, 0);
  HAL_NVIC_EnableIRQ(DMA2_Channel5_IRQn);
  /* DMA1_Channel8_IRQn interrupt configuration */
  HAL_NVIC_SetPriority(DMA1_Channel8_IRQn, 5, 0);
  HAL_NVIC_EnableIRQ(DMA1_Channel8_IRQn);

}

static void MX_GPIO_Init(void)
{
  GPIO_InitTypeDef GPIO_InitStruct = {0};

  /* GPIO Ports Clock Enable */
  __HAL_RCC_GPIOC_CLK_ENABLE();
  __HAL_RCC_GPIOF_CLK_ENABLE();
  __HAL_RCC_GPIOA_CLK_ENABLE();
  __HAL_RCC_GPIOB_CLK_ENABLE();
  __HAL_RCC_GPIOD_CLK_ENABLE();

  /*Configure GPIO pin Output Level */
  HAL_GPIO_WritePin(GPIOC, KILL_SWITCH_Pin|WATCHDOG_EN_Pin|GPS_STANDBY_Pin|WATCHDOG_FEED_Pin
                          |NRF24L01_PWR_Pin|NRF24L01_CE_Pin, GPIO_PIN_RESET);

  /*Configure GPIO pin Output Level */
  HAL_GPIO_WritePin(GPIOF, ARM_GUN_Pin|FIRE_GUN_Pin, GPIO_PIN_RESET);

  /*Configure GPIO pin Output Level */
  HAL_GPIO_WritePin(GPIOA, GPS_RST_Pin|RENESANS_CS_Pin|NXP_CS_Pin|FPGA_CS_Pin, GPIO_PIN_SET);

  /*Configure GPIO pin Output Level */
  HAL_GPIO_WritePin(GPIOB, NRF24L01_CS_Pin|FRAM_CS_Pin|INFINEON_RST_Pin|INFINEON_CS_Pin
                          |NXP_RST_Pin|FPGA_RST_Pin, GPIO_PIN_SET);

  /*Configure GPIO pin Output Level */
  HAL_GPIO_WritePin(RENESANS_RST_GPIO_Port, RENESANS_RST_Pin, GPIO_PIN_SET);

  /*Configure GPIO pins : NC_5_Pin NC_3_Pin NC_2_Pin NC_1_Pin */
  GPIO_InitStruct.Pin = NC_5_Pin|NC_3_Pin|NC_2_Pin|NC_1_Pin;
  GPIO_InitStruct.Mode = GPIO_MODE_INPUT;
  GPIO_InitStruct.Pull = GPIO_PULLUP;
  HAL_GPIO_Init(GPIOC, &GPIO_InitStruct);

  /*Configure GPIO pins : KILL_SWITCH_Pin WATCHDOG_EN_Pin GPS_STANDBY_Pin WATCHDOG_FEED_Pin
                           NRF24L01_CE_Pin */
  GPIO_InitStruct.Pin = KILL_SWITCH_Pin|WATCHDOG_EN_Pin|GPS_STANDBY_Pin|WATCHDOG_FEED_Pin
                          |NRF24L01_CE_Pin;
  GPIO_InitStruct.Mode = GPIO_MODE_OUTPUT_PP;
  GPIO_InitStruct.Pull = GPIO_NOPULL;
  GPIO_InitStruct.Speed = GPIO_SPEED_FREQ_LOW;
  HAL_GPIO_Init(GPIOC, &GPIO_InitStruct);

  /*Configure GPIO pins : ARM_GUN_Pin FIRE_GUN_Pin */
  GPIO_InitStruct.Pin = ARM_GUN_Pin|FIRE_GUN_Pin;
  GPIO_InitStruct.Mode = GPIO_MODE_OUTPUT_PP;
  GPIO_InitStruct.Pull = GPIO_NOPULL;
  GPIO_InitStruct.Speed = GPIO_SPEED_FREQ_LOW;
  HAL_GPIO_Init(GPIOF, &GPIO_InitStruct);

  /*Configure GPIO pin : GPS_RST_Pin */
  GPIO_InitStruct.Pin = GPS_RST_Pin;
  GPIO_InitStruct.Mode = GPIO_MODE_OUTPUT_OD;
  GPIO_InitStruct.Pull = GPIO_NOPULL;
  GPIO_InitStruct.Speed = GPIO_SPEED_FREQ_LOW;
  HAL_GPIO_Init(GPS_RST_GPIO_Port, &GPIO_InitStruct);

  /*Configure GPIO pin : NRF24L01_PWR_Pin */
  GPIO_InitStruct.Pin = NRF24L01_PWR_Pin;
  GPIO_InitStruct.Mode = GPIO_MODE_OUTPUT_OD;
  GPIO_InitStruct.Pull = GPIO_NOPULL;
  GPIO_InitStruct.Speed = GPIO_SPEED_FREQ_LOW;
  HAL_GPIO_Init(NRF24L01_PWR_GPIO_Port, &GPIO_InitStruct);

  /*Configure GPIO pins : NRF24L01_CS_Pin FRAM_CS_Pin INFINEON_CS_Pin */
  GPIO_InitStruct.Pin = NRF24L01_CS_Pin|FRAM_CS_Pin|INFINEON_CS_Pin;
  GPIO_InitStruct.Mode = GPIO_MODE_OUTPUT_PP;
  GPIO_InitStruct.Pull = GPIO_NOPULL;
  GPIO_InitStruct.Speed = GPIO_SPEED_FREQ_LOW;
  HAL_GPIO_Init(GPIOB, &GPIO_InitStruct);

  /*Configure GPIO pin : NRF24L01_IRQ_Pin */
  GPIO_InitStruct.Pin = NRF24L01_IRQ_Pin;
  GPIO_InitStruct.Mode = GPIO_MODE_IT_FALLING;
  GPIO_InitStruct.Pull = GPIO_NOPULL;
  HAL_GPIO_Init(NRF24L01_IRQ_GPIO_Port, &GPIO_InitStruct);

  /*Configure GPIO pins : NC_4_Pin GPS_PPS1_Pin */
  GPIO_InitStruct.Pin = NC_4_Pin|GPS_PPS1_Pin;
  GPIO_InitStruct.Mode = GPIO_MODE_INPUT;
  GPIO_InitStruct.Pull = GPIO_PULLUP;
  HAL_GPIO_Init(GPIOB, &GPIO_InitStruct);

  /*Configure GPIO pins : INFINEON_RST_Pin NXP_RST_Pin FPGA_RST_Pin */
  GPIO_InitStruct.Pin = INFINEON_RST_Pin|NXP_RST_Pin|FPGA_RST_Pin;
  GPIO_InitStruct.Mode = GPIO_MODE_OUTPUT_OD;
  GPIO_InitStruct.Pull = GPIO_NOPULL;
  GPIO_InitStruct.Speed = GPIO_SPEED_FREQ_LOW;
  HAL_GPIO_Init(GPIOB, &GPIO_InitStruct);

  /*Configure GPIO pin : INFINEON_RDY_Pin */
  GPIO_InitStruct.Pin = INFINEON_RDY_Pin;
  GPIO_InitStruct.Mode = GPIO_MODE_IT_FALLING;
  GPIO_InitStruct.Pull = GPIO_NOPULL;
  HAL_GPIO_Init(INFINEON_RDY_GPIO_Port, &GPIO_InitStruct);

  /*Configure GPIO pins : RENESANS_CS_Pin NXP_CS_Pin FPGA_CS_Pin */
  GPIO_InitStruct.Pin = RENESANS_CS_Pin|NXP_CS_Pin|FPGA_CS_Pin;
  GPIO_InitStruct.Mode = GPIO_MODE_OUTPUT_PP;
  GPIO_InitStruct.Pull = GPIO_NOPULL;
  GPIO_InitStruct.Speed = GPIO_SPEED_FREQ_LOW;
  HAL_GPIO_Init(GPIOA, &GPIO_InitStruct);

  /*Configure GPIO pin : RENESANS_RDY_Pin */
  GPIO_InitStruct.Pin = RENESANS_RDY_Pin;
  GPIO_InitStruct.Mode = GPIO_MODE_IT_FALLING;
  GPIO_InitStruct.Pull = GPIO_PULLUP;
  HAL_GPIO_Init(RENESANS_RDY_GPIO_Port, &GPIO_InitStruct);

  /*Configure GPIO pin : RENESANS_RST_Pin */
  GPIO_InitStruct.Pin = RENESANS_RST_Pin;
  GPIO_InitStruct.Mode = GPIO_MODE_OUTPUT_OD;
  GPIO_InitStruct.Pull = GPIO_NOPULL;
  GPIO_InitStruct.Speed = GPIO_SPEED_FREQ_LOW;
  HAL_GPIO_Init(RENESANS_RST_GPIO_Port, &GPIO_InitStruct);

  /*Configure GPIO pins : NXP_RDY_Pin FPGA_RDY_Pin */
  GPIO_InitStruct.Pin = NXP_RDY_Pin|FPGA_RDY_Pin;
  GPIO_InitStruct.Mode = GPIO_MODE_IT_FALLING;
  GPIO_InitStruct.Pull = GPIO_PULLUP;
  HAL_GPIO_Init(GPIOB, &GPIO_InitStruct);

  /* EXTI interrupt init*/
  HAL_NVIC_SetPriority(EXTI2_IRQn, 5, 0);
  HAL_NVIC_EnableIRQ(EXTI2_IRQn);

  HAL_NVIC_SetPriority(EXTI9_5_IRQn, 5, 0);
  HAL_NVIC_EnableIRQ(EXTI9_5_IRQn);

  HAL_NVIC_SetPriority(EXTI15_10_IRQn, 5, 0);
  HAL_NVIC_EnableIRQ(EXTI15_10_IRQn);

}

void Error_Handler(void)
{
  __disable_irq();
  while (1)
  {
  }
}
